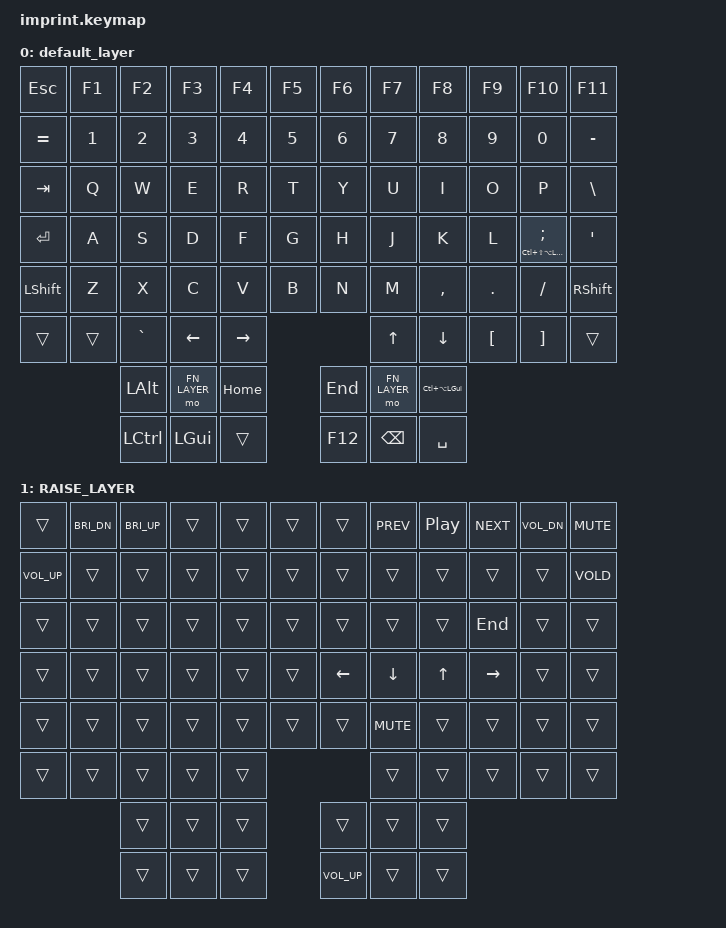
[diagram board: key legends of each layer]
#include <input/processors.dtsi>
#include <dt-bindings/zmk/input_transform.h>
#include <behaviors.dtsi>
#include <dt-bindings/zmk/bt.h>
#include <dt-bindings/zmk/keys.h>
#include <dt-bindings/zmk/pointing.h>
#include <dt-bindings/zmk/rgb.h>

#define FN_LAYER 1

/ {
    chosen { zmk,matrix-transform = &imprint_function_row_full_bottom_row; };

    keymap {
        compatible = "zmk,keymap";

        // TODO: HYPER SEMI

        default_layer {
            bindings = <
&kp ESC    &kp F1  &kp F2     &kp F3    &kp F4    &kp F5              &kp F6     &kp F7    &kp F8     &kp F9    &kp F10                    &kp F11
&kp EQUAL  &kp N1  &kp N2     &kp N3    &kp N4    &kp N5              &kp N6     &kp N7    &kp N8     &kp N9    &kp N0                     &kp MINUS
&kp TAB    &kp Q   &kp W      &kp E     &kp R     &kp T               &kp Y      &kp U     &kp I      &kp O     &kp P                      &kp BSLH
&kp ENTER  &kp A   &kp S      &kp D     &kp F     &kp G               &kp H      &kp J     &kp K      &kp L     &mt LC(LS(LA(LGUI))) SEMI  &kp SQT
&kp LSHFT  &kp Z   &kp X      &kp C     &kp V     &kp B               &kp N      &kp M     &kp COMMA  &kp DOT   &kp FSLH                   &kp RSHFT
&trans     &trans  &kp GRAVE  &kp LEFT  &kp RIGHT                                &kp UP    &kp DOWN   &kp LBKT  &kp RBKT                   &trans

                        &kp LALT   &mo FN_LAYER   &kp HOME           &kp END   &mo FN_LAYER   &kp LC(LA(LGUI))
                        &kp LCTRL  &kp LGUI          &trans        &kp F12   &kp BSPC          &kp SPACE
            >;
        };

        RAISE_LAYER {
            bindings = <
&trans        &kp C_BRI_DN  &kp C_BRI_UP  &trans  &trans  &trans                   &trans    &kp C_PREV  &kp C_PLAY_PAUSE  &kp C_NEXT   &kp C_VOL_DN  &kp C_MUTE
&kp C_VOL_UP  &trans        &trans        &trans  &trans  &trans                   &trans    &trans      &trans            &trans       &trans        &kp VOLD
&trans        &trans        &trans        &trans  &trans  &trans                   &trans    &trans      &trans            &kp END      &trans        &trans
&trans        &trans        &trans        &trans  &trans  &trans                   &kp LEFT  &kp DOWN    &kp UP            &kp RIGHT    &trans        &trans
&trans        &trans        &trans        &trans  &trans  &trans                   &trans    &kp C_MUTE  &trans            &trans       &trans        &trans
&trans        &trans        &trans        &trans  &trans                                     &trans      &trans            &trans       &trans        &trans

                               &trans  &trans  &trans                &trans      &trans  &trans
                                 &trans  &trans  &trans            &kp C_VOL_UP  &trans  &trans
            >;
        };
    };
};

//right hand trackball configuration

&trackball_peripheral_listener {
    input-processors =
        // this gets it to the default installation orientation,
        <&zip_xy_transform INPUT_TRANSFORM_XY_SWAP>;

    // activate layer 3 within 500ms of the trackball moving
    // <&zip_temp_layer 3 500>;
};

//left hand trackball configuration

&trackball_central_listener {
    input-processors =
        // this gets it to the default installation orientation,
        <&zip_xy_transform INPUT_TRANSFORM_XY_SWAP>,
        // multiply sensitivity by 1, divide by 3 (make it slower for scrolling),
        <&zip_xy_scaler 1 3>,
        // make this trackball output scrolling events by default instead of cursor movement,
        <&zip_xy_to_scroll_mapper>,
        // invert vertical scrolling so that the view moves in the same direction as the top of the trackball.,
        <&zip_scroll_transform INPUT_TRANSFORM_Y_INVERT>;
};
